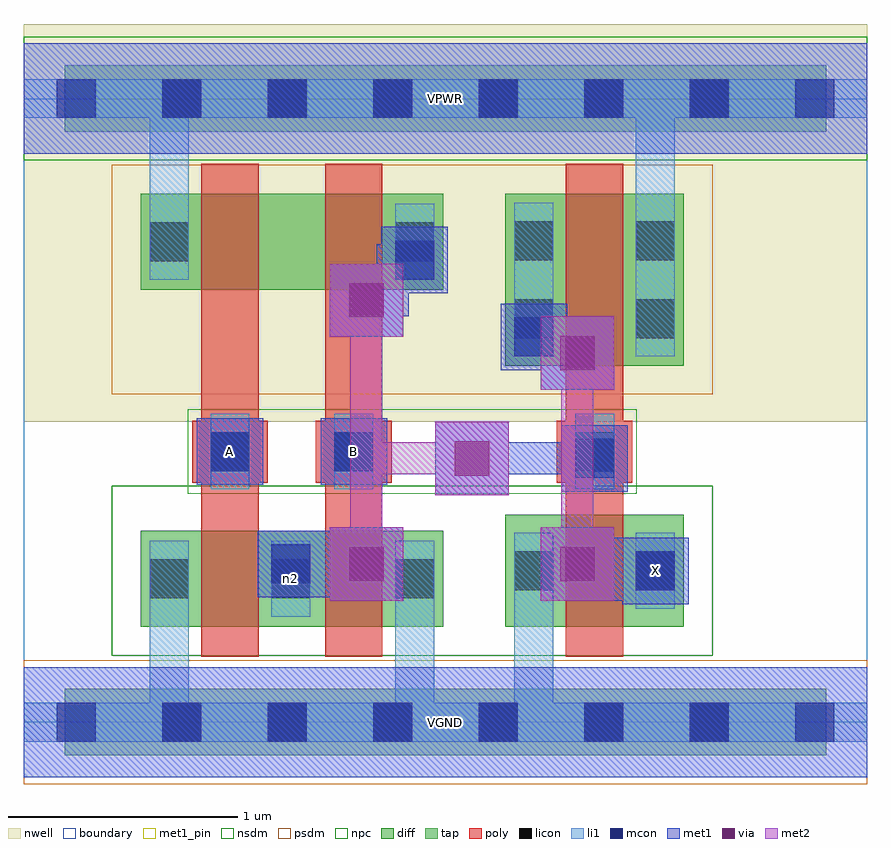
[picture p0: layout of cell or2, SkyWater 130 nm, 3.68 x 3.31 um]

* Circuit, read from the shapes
.subckt or2 A B VGND VPWR X n2
XM1 n2 A VGND VGND sky130_fd_pr__nfet_01v8 w=0.42 l=0.25
XM2 VGND B n2 VGND sky130_fd_pr__nfet_01v8 w=0.42 l=0.25
XM3 X n2 VGND VGND sky130_fd_pr__nfet_01v8 w=0.49 l=0.25
XM4 n1 A VPWR VPWR sky130_fd_pr__pfet_01v8 w=0.42 l=0.25
XM5 n2 B n1 VPWR sky130_fd_pr__pfet_01v8 w=0.42 l=0.25
XM6 VPWR n2 X VPWR sky130_fd_pr__pfet_01v8 w=0.75 l=0.25
.ends

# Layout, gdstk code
import gdstk
lib = gdstk.Library(unit=1e-6, precision=1e-09)
def R(c, l, rs):  # rectangles x0, y0, x1, y1
    for r in rs: c.add(gdstk.rectangle(r[:2], r[2:], *l))
def A(c, l, x, y, w, h, nx, ny, dx, dy):  # array of equal rectangles
    R(c, l, [(x+i*dx, y+j*dy, x+i*dx+w, y+j*dy+h) for i in range(nx) for j in range(ny)])
nwell = (64, 20)
diff = (65, 20)
tap = (65, 44)
poly = (66, 20)
licon = (66, 44)
li1 = (67, 20)
mcon = (67, 44)
met1_pin = (68, 16)
met1 = (68, 20)
via = (68, 44)
met2 = (69, 20)
nsdm = (93, 44)
psdm = (94, 20)
npc = (95, 20)
boundary = (235, 4)

or2 = lib.new_cell('or2')
R(or2, nwell, [(0,1.31,3.68,3.045)])
R(or2, diff, [(0.51,0.415,1.83,0.835), (2.1,0.415,2.88,0.905), (2.1,1.555,2.88,2.305), (0.51,1.885,1.83,2.305)])
R(or2, tap, [(0.18,-0.145,3.5,0.145), (0.18,2.575,3.5,2.865)])
R(or2, poly, [(0.775,0.285,1.025,2.435), (1.315,0.285,1.565,2.435), (2.365,0.285,2.615,2.435), (0.735,1.045,1.065,1.315), (1.275,1.045,1.605,1.315), (2.325,1.045,2.655,1.315)])
A(or2, licon, 0.605, -0.085, 0.17, 0.17, 6, 2, 0.46, 2.72)
R(or2, licon, [(0.55,0.54,0.72,0.71), (1.08,0.54,1.25,0.71), (1.62,0.54,1.79,0.71), (2.14,0.575,2.31,0.745), (2.67,0.575,2.84,0.745), (0.815,1.095,0.985,1.265), (1.355,1.095,1.525,1.265), (2.405,1.095,2.575,1.265), (2.14,1.675,2.31,1.845), (2.67,1.675,2.84,1.845), (0.55,2.01,0.72,2.18), (1.62,2.01,1.79,2.18), (2.14,2.015,2.31,2.185), (2.67,2.015,2.84,2.185)])
R(or2, li1, [(0,-0.085,3.68,0.085), (0.55,-0.085,0.72,0.79), (1.62,-0.085,1.79,0.79), (2.14,-0.085,2.31,0.825), (0.55,0.46,0.72,0.79), (1.08,0.46,1.25,0.79), (1.62,0.46,1.79,0.79), (2.14,0.495,2.31,0.825), (2.67,0.495,2.84,0.825), (0.815,1.015,0.985,1.345), (1.355,1.015,1.525,1.345), (2.405,1.015,2.575,1.345), (2.14,1.595,2.31,2.265), (2.67,1.595,2.84,2.265), (2.67,1.595,2.84,2.805), (0.55,1.93,0.72,2.26), (0.55,1.93,0.72,2.805), (1.62,1.93,1.79,2.26), (0,2.635,3.68,2.805)])
A(or2, mcon, 0.145, -0.085, 0.17, 0.17, 8, 2, 0.46, 2.72)
R(or2, mcon, [(2.67,0.575,2.84,0.745), (1.08,0.605,1.25,0.775), (2.405,1.065,2.575,1.235), (0.815,1.095,0.985,1.265), (1.355,1.095,1.525,1.265), (2.14,1.595,2.31,1.765), (1.62,1.93,1.79,2.1)])
R(or2, met1_pin, [(0,-0.24,3.68,0.24), (2.61,0.515,2.9,0.805), (0.755,1.035,1.045,1.325), (1.295,1.035,1.585,1.325), (0,2.48,3.68,2.96)])
R(or2, met1, [(0,-0.24,3.68,0.24), (2.61,0.515,2.9,0.805), (1.335,0.53,1.655,0.85), (2.255,0.53,2.575,0.85), (2.575,0.53,2.61,0.805), (1.02,0.545,1.31,0.835), (1.31,0.545,1.335,0.835), (1.095,0.62,1.335,0.76), (1.195,0.62,1.565,0.76), (2.345,0.62,2.83,0.76), (2.69,0.62,2.83,0.76), (1.795,0.99,2.115,1.31), (2.345,1.005,2.635,1.295), (0.755,1.035,1.045,1.325), (1.295,1.035,1.585,1.325), (1.885,1.08,2.37,1.22), (2.23,1.08,2.56,1.22), (2.255,1.45,2.575,1.77), (2.08,1.535,2.37,1.825), (2.345,1.54,2.485,1.75), (2.155,1.61,2.485,1.75), (1.335,1.68,1.655,2), (1.425,1.77,1.68,1.91), (1.54,1.77,1.68,2.085), (1.56,1.87,1.85,2.16), (1.54,1.945,1.775,2.085), (0,2.48,3.68,2.96)])
R(or2, via, [(1.42,0.615,1.57,0.765), (2.34,0.615,2.49,0.765), (1.88,1.075,2.03,1.225), (2.34,1.535,2.49,1.685), (1.42,1.765,1.57,1.915)])
R(or2, met2, [(1.335,0.53,1.655,0.85), (2.255,0.53,2.575,0.85), (1.425,0.62,1.565,1.91), (2.345,0.62,2.485,1.68), (1.795,0.99,2.115,1.31), (1.425,1.08,2.025,1.22), (2.255,1.45,2.575,1.77), (1.335,1.68,1.655,2)])
R(or2, nsdm, [(0.385,0.29,3.005,1.03), (0,2.45,3.68,2.99)])
R(or2, psdm, [(0,-0.27,3.68,0.27), (0.385,1.43,3.005,2.43)])
R(or2, npc, [(0.715,0.995,2.675,1.365)])
R(or2, boundary, [(0,0,3.68,2.72)])
or2.add(gdstk.Label('n2', (1.165,0.625), layer=67, texttype=5))
or2.add(gdstk.Label('A', (0.9,1.18), layer=68, texttype=5))
or2.add(gdstk.Label('B', (1.44,1.18), layer=68, texttype=5))
or2.add(gdstk.Label('X', (2.755,0.66), layer=68, texttype=5))
or2.add(gdstk.Label('VPWR', (1.84,2.72), layer=68, texttype=5))
or2.add(gdstk.Label('VGND', (1.84,0), layer=68, texttype=5))
or2.add(gdstk.Label('A', (0.9,1.18), layer=68, texttype=16))
or2.add(gdstk.Label('B', (1.44,1.18), layer=68, texttype=16))
or2.add(gdstk.Label('X', (2.755,0.66), layer=68, texttype=16))
or2.add(gdstk.Label('VPWR', (1.84,2.72), layer=68, texttype=16))
or2.add(gdstk.Label('VGND', (1.84,0), layer=68, texttype=16))

lib.write_gds('or2.gds')
